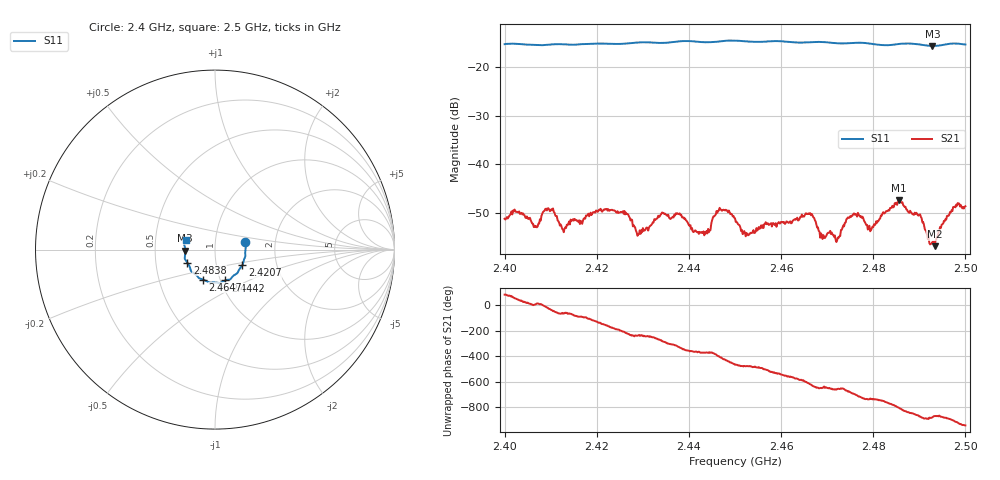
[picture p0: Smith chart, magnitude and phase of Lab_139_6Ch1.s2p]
# Hz S RI R 50
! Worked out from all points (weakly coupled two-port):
!   601 points, 2.4 GHz to 2.5 GHz, reference 50 ohm
!   highest |S21| = -47.40 dB at 2.4855 GHz (marker M1); lowest = -56.9 dB at 2.4933 GHz (marker M2)
!   lowest |S11| = -15.6 dB at 2.4928 GHz (marker M3), VSWR 1.40, Z = 35.8 - j0.385 ohm
!   |S11| at or under -10 dB: start of sweep to end of sweep
!   S12 and S22 are empty: the file has one direction only
!   S11 on the Smith chart (normalised r, x): 2.4 GHz: 1.40, +0.12; 2.4207 GHz: 1.33, -0.24; 2.4442 GHz: 1.05, -0.37; 2.4647 GHz: 0.83, -0.29; 2.4838 GHz: 0.73, -0.11; 2.5 GHz: 0.72, +0.08
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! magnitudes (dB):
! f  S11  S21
! 2.4 GHz  -15.2  -51.3
! 2.4167 GHz  -15.2  -52.0
! 2.4207 GHz  -15.1  -49.4
! 2.4265 GHz  -15.1  -50.3
! 2.429 GHz  -14.9  -54.5
! 2.4333 GHz  -15.0  -50.6
! 2.4442 GHz  -14.8  -53.4
! 2.4465 GHz  -14.7  -49.6
! 2.45 GHz  -14.5  -51.2
! 2.4528 GHz  -14.7  -54.7
! 2.4647 GHz  -14.9  -50.8
! 2.4667 GHz  -14.8  -50.3
! 2.4723 GHz  -15.1  -55.1
! 2.4753 GHz  -15.0  -50.6
! 2.4793 GHz  -15.1  -53.8
! 2.4833 GHz  -15.4  -49.4
! 2.4838 GHz  -15.4  -49.0
! 2.4855 GHz  -15.2  -47.4
! 2.4928 GHz  -15.6  -56.1
! 2.4933 GHz  -15.6  -56.9
! 2.4978 GHz  -15.1  -48.9
! 2.5 GHz  -15.3  -48.7
